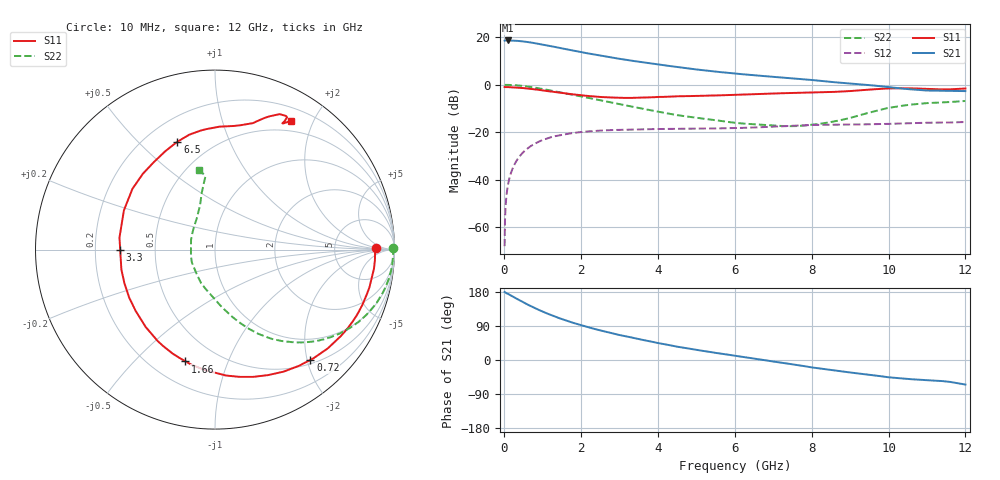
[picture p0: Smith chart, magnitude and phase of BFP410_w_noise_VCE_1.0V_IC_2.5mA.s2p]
! Infineon Technologies  Discrete & RF Semiconductors
! BFP410
! VCE =  1.0 V,  IC =  2.5 mA
! Common Emitter S-Parameters:  Nov 2015
# GHz  S  MA  R  50
!  f  S11  S21  S12  S22
! GHz  MAG  ANG  MAG  ANG  MAG  ANG  MAG  ANG
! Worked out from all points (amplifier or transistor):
!   243 points, 10 MHz to 12 GHz, reference 50 ohm
!   highest |S21| = 18.6 dB at 100 MHz (marker M1)
!   |S21| within 3 dB of that: start of sweep to 1.396 GHz
!   unconditionally stable (mu >= 1): 3.786 GHz to end of sweep
!   at 240 MHz: K = 0.05, MSG = 26.5 dB, |S12| = -34.5 dB
!   at 1.84 GHz: K = 0.45, MSG = 17.2 dB, |S12| = -20.2 dB
!   at 12 GHz: K = 1.12, MAG = 4.4 dB, |S12| = -15.7 dB
!   lowest NFmin = 0.84 dB at 900 MHz
!   S11 on the Smith chart (normalised r, x): 10 MHz: 18, +2; 720 MHz: 0.57, -2.06; 1.66 GHz: 0.34, -0.71; 3.3 GHz: 0.31, -0.00; 6.5 GHz: 0.33, +0.66; 12 GHz: 0.36, +1.69
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0.01  0.8973 0.6  8.471 179.5  0.0004 92.2  0.9937 0.6
0.02  0.892 -1.3  8.543 178.9  0.0014 88.3  0.9909 -0.4
0.03  0.8923 -2.0  8.528 178.2  0.0023 87.9  0.9915 -0.9
0.1  0.8919 -6.9  8.545 174.4  0.008 86.6  0.9919 -3.9
0.2  0.8857 -13.8  8.509 168.8  0.0158 82.5  0.9853 -8.0
0.36  0.8703 -24.9  8.35 159.8  0.0281 76.4  0.9654 -14.4
0.6  0.8354 -41.2  7.931 146.7  0.0451 67.6  0.9182 -23.4
0.72  0.8126 -49.1  7.68 140.9  0.0529 63.4  0.8892 -27.5
0.9  0.7799 -60.7  7.26 132.2  0.0634 57.4  0.842 -33.5
1.1  0.7406 -73.2  6.767 123.4  0.0734 51.4  0.7859 -39.5
1.4  0.684 -90.8  6.041 111.4  0.0852 43.3  0.7038 -47.3
1.66  0.6443 -104.8  5.493 102.3  0.0929 37.3  0.6404 -52.9
2.02  0.5985 -122.9  4.821 91.3  0.1012 30.5  0.5634 -59.6
2.6  0.548 -150.8  3.973 75.4  0.1095 21.1  0.4509 -69.4
3.3  0.528 -179.6  3.221 59.7  0.1138 13.1  0.3489 -79.7
4.1  0.554 154.0  2.61 43.0  0.1171 6.6  0.262 -93.2
5  0.5831 133.6  2.096 26.6  0.1191 1.0  0.202 -112.6
6.1  0.6181 115.2  1.692 9.8  0.1229 -3.1  0.1552 -137.9
6.5  0.6367 109.2  1.584 3.6  0.1258 -4.5  0.1477 -150.4
8.2  0.69 84.6  1.212 -22.2  0.1428 -14.6  0.1501 149.2
10.2  0.8396 63.3  0.857 -47.3  0.1519 -24.6  0.3453 101.6
12  0.8325 59.5  0.734 -64.8  0.1642 -36.4  0.4549 101.4
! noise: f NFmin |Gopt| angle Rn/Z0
0.45  0.88  0.45  7  0.25
0.9  0.84  0.43  20  0.24
1.8  1.06  0.33  53  0.2
2.4  1.09  0.33  62  0.18
5.5  2.15  0.34  -141  0.2
10  3.77  0.69  -55  2.12
